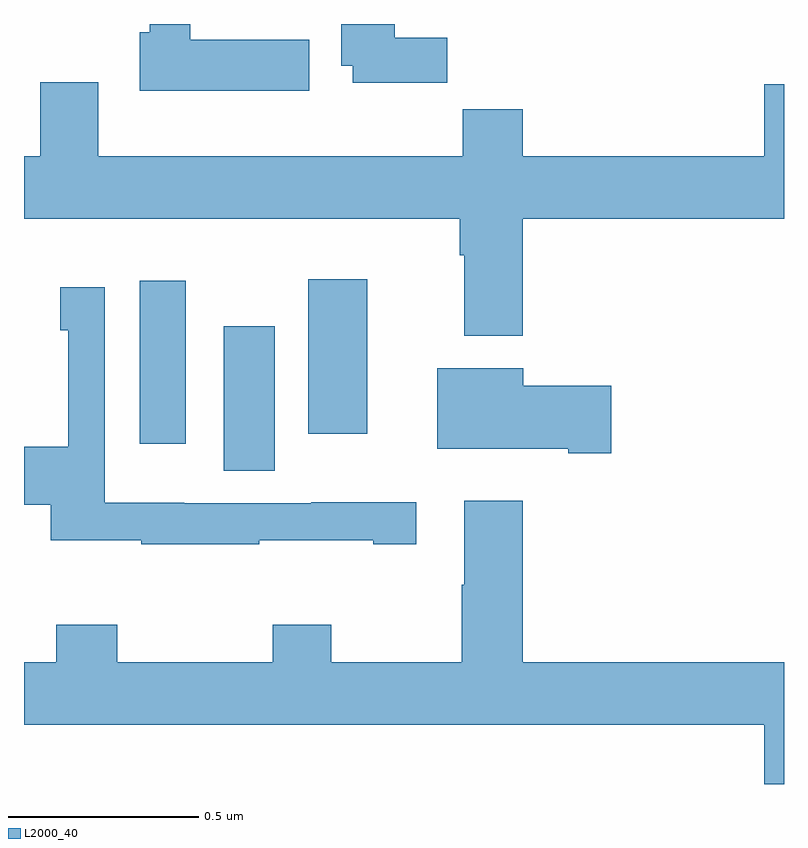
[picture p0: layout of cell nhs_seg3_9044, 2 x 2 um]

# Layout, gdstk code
import gdstk
lib = gdstk.Library(unit=1e-6, precision=1e-09)
def R(c, l, rs):  # rectangles x0, y0, x1, y1
    for r in rs: c.add(gdstk.rectangle(r[:2], r[2:], *l))
def P(c, l, *ps):  # polygons
    for p in ps: c.add(gdstk.Polygon(p, *l))
L2000_40 = (2000, 40)

nhs_seg3_9044 = lib.new_cell('nhs_seg3_9044')
R(nhs_seg3_9044, L2000_40, [(223.526,728.224,223.66,728.605), (223.304,728.295,223.426,728.725), (223.748,728.322,223.903,728.728)])
P(nhs_seg3_9044, L2000_40, [(224.114,729.364),(223.975,729.364),(223.975,729.4),(223.835,729.4),(223.835,729.29),(223.865,729.29),(223.865,729.246),(224.114,729.246)],
  [(223.75,729.358),(223.438,729.358),(223.438,729.4),(223.331,729.4),(223.331,729.378),(223.304,729.378),(223.304,729.224),(223.75,729.224)],
  [(224.312,728.888),(225,728.888),(225,729.241),(224.948,729.241),(224.948,729.052),(224.312,729.052),(224.312,729.176),(224.155,729.176),(224.155,729.052),(223.195,729.052),(223.195,729.247),(223.043,729.247),(223.043,729.052),(223,729.052),(223,728.888),(224.147,728.888),(224.147,728.792),(224.159,728.792),(224.159,728.579),(224.312,728.579)],
  [(223.619,728.041),(223.919,728.041),(223.919,728.031),(224.032,728.031),(224.032,728.141),(223.756,728.141),(223.756,728.139),(223.422,728.139),(223.422,728.14),(223.212,728.14),(223.212,728.707),(223.096,728.707),(223.096,728.594),(223.116,728.594),(223.116,728.288),(223,728.288),(223,728.135),(223.07,728.135),(223.07,728.041),(223.309,728.041),(223.309,728.031),(223.619,728.031)],
  [(224.545,728.448),(224.314,728.448),(224.314,728.494),(224.087,728.494),(224.087,728.282),(224.432,728.282),(224.432,728.27),(224.545,728.27)],
  [(225,727.72),(224.312,727.72),(224.312,728.146),(224.159,728.146),(224.159,727.925),(224.152,727.925),(224.152,727.72),(223.809,727.72),(223.809,727.819),(223.654,727.819),(223.654,727.72),(223.245,727.72),(223.245,727.819),(223.085,727.819),(223.085,727.72),(223,727.72),(223,727.556),(224.948,727.556),(224.948,727.4),(225,727.4)])

lib.write_gds('nhs_seg3_9044.gds')
